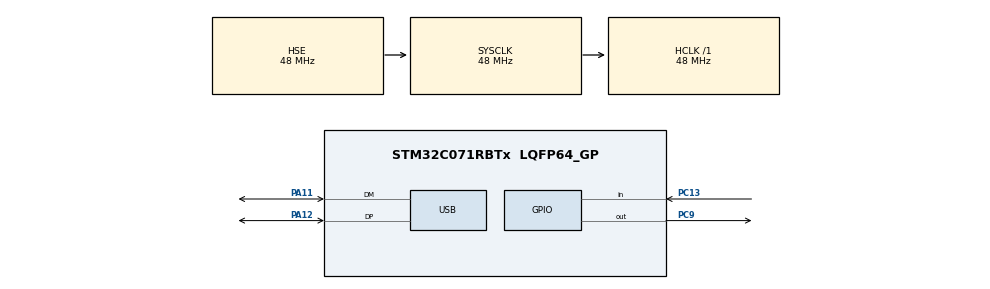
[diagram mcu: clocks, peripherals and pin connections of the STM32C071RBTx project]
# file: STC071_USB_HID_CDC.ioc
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Mcu.Family=STM32C0
Mcu.Name=STM32C071RBTx
Mcu.Package=LQFP64_GP
NUCLEO-C071RB.BUTTON=1
NUCLEO-C071RB.Bsp_Common_DEMO=true
NUCLEO-C071RB.LD1=true
NUCLEO-C071RB.LD2=true
NUCLEO-C071RB.VCP=true
NVIC.EXTI4_15_IRQn=true\:0\:0\:false\:false\:true\:false\:true\:true
NVIC.USB_DRD_FS_IRQn=true\:0\:0\:false\:false\:true\:true\:true\:true
PA11\ [PA9].Mode=Device
PA11\ [PA9].Signal=USB_DM
PA12\ [PA10].Mode=Device
PA12\ [PA10].Signal=USB_DP
PA13.Mode=Serial_Wire
PA13.Signal=DEBUG_SWDIO
PA14-BOOT0.Mode=Serial_Wire
PA14-BOOT0.Signal=DEBUG_SWCLK
PA2.Signal=USART2_TX
PA3.Signal=USART2_RX
PC13.Signal=GPIO_Input
PC9.Signal=GPIO_Output
PF0-OSC_IN(PF0).Mode=HSE-External-Oscillator
PF0-OSC_IN(PF0).Signal=RCC_OSC_IN
PF1-OSC_OUT(PF1).Mode=HSE-External-Oscillator
PF1-OSC_OUT(PF1).Signal=RCC_OSC_OUT
ProjectManager.HeapSize=0x1000
ProjectManager.StackSize=0x1000
ProjectManager.TargetToolchain=EWARM V9.30
RCC.ADCFreq_Value=48000000
RCC.AHBFreq_Value=48000000
RCC.CortexFreq_Value=48000000
RCC.EXTERNAL_CLOCK_VALUE=12288000
RCC.HCLKFreq_Value=48000000
RCC.HSE_VALUE=48000000
RCC.HSI48_VALUE=48000000
RCC.HSI_VALUE=48000000
RCC.LSE_VALUE=32768
RCC.SYSCLKFreq_VALUE=48000000
RCC.SYSCLKSource=RCC_SYSCLKSOURCE_HSE
USB.VirtualMode=Device_Only
USBX.BSP.number=1
USBX.Core_System=1
USBX.REG_USBX_DEVICE_CON_CK=0
USBX.USBD_CDCACM_EPINCMD_ADDR=3
USBX.USBD_CDCACM_EPIN_ADDR=2
USBX.USBD_CDCACM_EPOUT_ADDR=2
USBX.USBD_PID=22352
USBX.USBD_PRODUCT_STRING=STM32 USB HID CDC Device
USBX.USBD_SERIAL_NUMBER=COMP001
USBX.USBX_DEVICE_SYS_SIZE=10*1024
USBX.UX_DEVICE_APP_MEM_POOL_SIZE_STANDALONE=12*1024
USBX.UX_DEVICE_CDC_ACM=1
USBX.UX_DEVICE_CLASS_CDC_ACM_WRITE_AUTO_ZLP=1
USBX.UX_DEVICE_HID_CORE=1
USBX.UX_DEVICE_HID_MOUSE=1
USBX.UX_Device_Controller=1
USBX.UX_Device_CoreStack=1
USBX.UX_MAX_SLAVE_CLASS_DRIVER=2
USBX.UX_SLAVE_REQUEST_DATA_MAX_LENGTH=512
USBX0.BSP.STBoard=false
USBX0.BSP.api=Unknown
USBX0.BSP.instance=USB
USBX0.BSP.ip=USB
USBX0.BSP.mode=Device_Only
USBX0.BSP.name=USB_Device
USBX0.BSP.solution=USB
VP_NUCLEO-C071RB_VS_BSP_COMMON.Mode=COMMON
VP_USBX_Core_System.Mode=Core_System
VP_USBX_UX\ Device\ CDC\ ACM\ Class_FS.Mode=UX_Device_class_CDC_ACM_FS
VP_USBX_UX\ Device\ Controller_FS.Mode=UX_Device_Controller_FS
VP_USBX_UX\ Device\ CoreStack_FS.Mode=UX_Device_CoreStack_FS
VP_USBX_UX\ Device\ HID_CORE_FS.Mode=UX_Device_class_HID_CORE_FS
VP_USBX_UX\ Device\ HID_MOUSE_FS.Mode=UX_Device_class_HID_MOUSE_FS
board=NUCLEO-C071RB

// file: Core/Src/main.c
/* USER CODE BEGIN Header */
/**
  ******************************************************************************
  * @file           : main.c
  * @brief          : Main program body
  ******************************************************************************
  * @attention
  *
  * Copyright (c) 2026 STMicroelectronics.
  * All rights reserved.
  *
  * This software is licensed under terms that can be found in the LICENSE file
  * in the root directory of this software component.
  * If no LICENSE file comes with this software, it is provided AS-IS.
  *
  ******************************************************************************
  */
/* USER CODE END Header */
#include "main.h"
#include "usb.h"
#include "app_usbx_device.h"
#include "gpio.h"

/* USER CODE BEGIN Includes */
#include "ux_device_cdc_acm.h"
/* USER CODE END Includes */

COM_InitTypeDef BspCOMInit;
__IO uint32_t BspButtonState = BUTTON_RELEASED;

/* USER CODE BEGIN PV */

const char software_version[] = "V0.0.1";
volatile uint8_t tx_pending = 0;
volatile uint8_t mouse_state = BUTTON_RELEASED;
/* USER CODE END PV */

void SystemClock_Config(void);
/* USER CODE BEGIN PFP */
void init_array(void);
/* USER CODE END PFP */

/* USER CODE BEGIN 0 */
extern PCD_HandleTypeDef hpcd_USB_DRD_FS;
/* USER CODE END 0 */

int main(void)
{

  /* MCU Configuration--------------------------------------------------------*/

  /* Reset of all peripherals, Initializes the Flash interface and the Systick. */
  HAL_Init();

  /* Configure the system clock */
  SystemClock_Config();

  /* Initialize all configured peripherals */
  MX_GPIO_Init();
  MX_USBX_Device_Init();

  /* Initialize leds */
  BSP_LED_Init(LED_GREEN);
  BSP_LED_Init(LED_BLUE);

  /* Initialize USER push-button, will be used to trigger an interrupt each time it's pressed.*/
  BSP_PB_Init(BUTTON_USER, BUTTON_MODE_EXTI);

  /* Initialize COM1 port (115200, 8 bits (7-bit data + 1 stop bit), no parity */
  BspCOMInit.BaudRate   = 115200;
  BspCOMInit.WordLength = COM_WORDLENGTH_8B;
  BspCOMInit.StopBits   = COM_STOPBITS_1;
  BspCOMInit.Parity     = COM_PARITY_NONE;
  BspCOMInit.HwFlowCtl  = COM_HWCONTROL_NONE;
  if (BSP_COM_Init(COM1, &BspCOMInit) != BSP_ERROR_NONE)
  {
    Error_Handler();
  }

  /* USER CODE BEGIN BSP */

  /* -- Sample board code to send message over COM1 port ---- */

  printf("%s\r\n", software_version);
  printf("USB HID CDC!\r\n");

  /* -- Sample board code to switch on leds ---- */
  BSP_LED_On(LED_GREEN);
  BSP_LED_On(LED_BLUE);

  /* USER CODE END BSP */

  /* Infinite loop */
  /* USER CODE BEGIN WHILE */
  init_array();
  while (1)
  {
    USBX_Device_Process(NULL);
    /* -- Sample board code for User push-button in interrupt mode ---- */
    if (BspButtonState == BUTTON_PRESSED)
    {
      /* Update button state */
      BspButtonState = BUTTON_RELEASED;
      /* -- Sample board code to toggle leds ---- */
      BSP_LED_Toggle(LED_GREEN);
      BSP_LED_Toggle(LED_BLUE);

      /* ..... Perform your action ..... */
    }
    /* USER CODE END WHILE */

  }
}

void SystemClock_Config(void)
{
  RCC_OscInitTypeDef RCC_OscInitStruct = {0};
  RCC_ClkInitTypeDef RCC_ClkInitStruct = {0};

  __HAL_FLASH_SET_LATENCY(FLASH_LATENCY_1);

  /** Initializes the RCC Oscillators according to the specified parameters
  * in the RCC_OscInitTypeDef structure.
  */
  RCC_OscInitStruct.OscillatorType = RCC_OSCILLATORTYPE_HSE|RCC_OSCILLATORTYPE_HSI48;
  RCC_OscInitStruct.HSEState = RCC_HSE_ON;
  RCC_OscInitStruct.HSI48State = RCC_HSI48_ON;

  if (HAL_RCC_OscConfig(&RCC_OscInitStruct) != HAL_OK)
  {
    Error_Handler();
  }

  /** Initializes the CPU, AHB and APB buses clocks
  */
  RCC_ClkInitStruct.ClockType = RCC_CLOCKTYPE_HCLK|RCC_CLOCKTYPE_SYSCLK
                              |RCC_CLOCKTYPE_PCLK1;
  RCC_ClkInitStruct.SYSCLKSource = RCC_SYSCLKSOURCE_HSE;
  RCC_ClkInitStruct.SYSCLKDivider = RCC_SYSCLK_DIV1;
  RCC_ClkInitStruct.AHBCLKDivider = RCC_HCLK_DIV1;
  RCC_ClkInitStruct.APB1CLKDivider = RCC_APB1_DIV1;

  if (HAL_RCC_ClockConfig(&RCC_ClkInitStruct, FLASH_LATENCY_1) != HAL_OK)
  {
    Error_Handler();
  }
}

/* USER CODE BEGIN 4 */
void init_array(void)
{
  for (uint32_t i = 0; i < APP_TX_DATA_SIZE; i++)
  {
    UserTxBufferFS[i] = (uint8_t)(i & 0xFF); // Fill with incremental byte values
  }
}

/* USER CODE END 4 */

/**
  * @brief  BSP Push Button callback
  * @param  Button Specifies the pressed button
  * @retval None
  */
void BSP_PB_Callback(Button_TypeDef Button)
{
  if (Button == BUTTON_USER)
  {
    BspButtonState = BUTTON_PRESSED;
    tx_pending = 1;
    mouse_state = BUTTON_PRESSED;
  }
}

void Error_Handler(void)
{
  __disable_irq();
  while (1)
  {
  }
}
